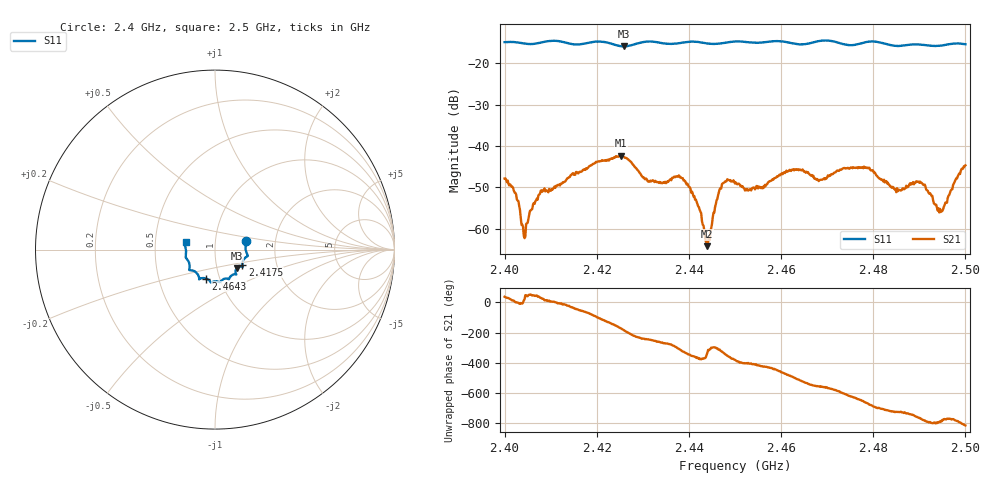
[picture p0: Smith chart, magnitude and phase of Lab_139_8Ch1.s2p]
# Hz S RI R 50
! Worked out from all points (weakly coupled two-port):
!   601 points, 2.4 GHz to 2.5 GHz, reference 50 ohm
!   highest |S21| = -42.37 dB at 2.4253 GHz (marker M1); lowest = -64.2 dB at 2.444 GHz (marker M2)
!   lowest |S11| = -15.9 dB at 2.4258 GHz (marker M3), VSWR 1.38, Z = 62.3 - j13.2 ohm
!   |S11| at or under -10 dB: start of sweep to end of sweep
!   S12 and S22 are empty: the file has one direction only
!   S11 on the Smith chart (normalised r, x): 2.4 GHz: 1.41, +0.14; 2.4175 GHz: 1.34, -0.23; 2.4643 GHz: 0.86, -0.29; 2.5 GHz: 0.72, +0.06
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2.4e9  0.1728 0.0486  0.0032 0.00248  0 0  0 0
2.4025e9  0.175 0.0374  0.0026 -1.58e-05  0 0  0 0
2.404167e9  0.1717 0.0232  0.000797 0.00019  0 0  0 0
2.408167e9  0.1778 -0.0217  0.00255 0.00117  0 0  0 0
2.416667e9  0.1529 -0.074  0.00274 -0.00408  0 0  0 0
2.4175e9  0.152 -0.0831  0.00233 -0.00458  0 0  0 0
2.425333e9  0.1251 -0.0998  -0.00757 -0.000846  0 0  0 0
2.425833e9  0.1216 -0.1033  -0.00734 0.000442  0 0  0 0
2.433333e9  0.1133 -0.1373  -0.000646 0.00358  0 0  0 0
2.439167e9  0.0799 -0.1601  0.00338 0.00166  0 0  0 0
2.442167e9  0.0736 -0.164  0.0018 -0.000334  0 0  0 0
2.444e9  0.0633 -0.161  0.000561 0.000253  0 0  0 0
2.447e9  0.0405 -0.1689  0.00248 0.00178  0 0  0 0
2.45e9  0.0287 -0.1808  0.00326 -0.00132  0 0  0 0
2.455833e9  -0.00476 -0.1777  0.00141 -0.00284  0 0  0 0
2.464333e9  -0.0501 -0.1611  -0.00483 -0.00163  0 0  0 0
2.466667e9  -0.076 -0.1593  -0.00441 0.000675  0 0  0 0
2.4785e9  -0.1384 -0.1152  0.00336 0.00435  0 0  0 0
2.483333e9  -0.1412 -0.0902  0.00342 6.82e-05  0 0  0 0
2.490167e9  -0.1632 -0.0392  0.00243 -0.0028  0 0  0 0
2.4945e9  -0.1627 0.0039  0.000433 -0.00168  0 0  0 0
2.5e9  -0.1637 0.0432  -0.00085 -0.00577  0 0  0 0
